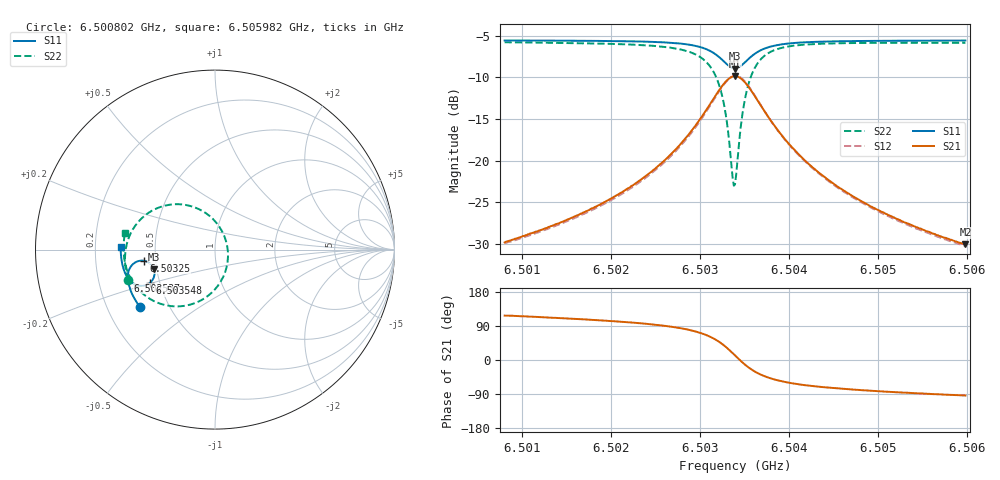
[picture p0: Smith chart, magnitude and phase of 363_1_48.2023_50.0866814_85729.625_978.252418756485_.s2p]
#  HZ  S  RI  R  50.00
! Rohde & Schwarz Vector Network Analyzer
! Rohde-Schwarz,ZNB20-2Port,1311601062101988,3.16
! Created: UTC 3/20/2024, 11:52:16 AM
! freq[Hz]  re:S11  im:S11  re:S21  im:S21  re:S12  im:S12  re:S22  im:S22
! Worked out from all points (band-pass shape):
!   401 points, 6.500802 GHz to 6.505982 GHz, reference 50 ohm
!   highest |S21| = -9.86 dB at 6.503392 GHz (marker M1); lowest = -30.0 dB at 6.505982 GHz (marker M2)
!   |S21| within 3 dB of the highest: 6.503133 GHz to 6.503651 GHz (518.5 kHz wide, 0.00797 % of centre)
!   lowest |S11| = -8.9 dB at 6.503392 GHz (marker M3), VSWR 2.11, Z = 24.1 - j6.1 ohm
!   |S11| at or under -10 dB: nowhere
!   |S22| runs from -23.0 to -5.8 dB; largest |S21 - S12| = 0.011
!   S11 on the Smith chart (normalised r, x): 6.500802 GHz: 0.34, -0.30; 6.502537 GHz: 0.33, -0.15; 6.50325 GHz: 0.43, -0.06; 6.503548 GHz: 0.44, -0.20; 6.505982 GHz: 0.31, +0.01
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6.5008021e9  -0.4194 -0.3183  -0.0148 0.0288  -0.0134 0.0291  -0.4854 -0.1675
6.5016698e9  -0.4577 -0.2553  -0.0145 0.0461  -0.0121 0.0458  -0.501 -0.0777
6.502136e9  -0.4749 -0.2148  -0.0121 0.0644  -0.00907 0.0635  -0.4997 -0.0137
6.5025374e9  -0.4849 -0.1719  -0.00319 0.0939  0.00033 0.0916  -0.4815 0.0634
6.5027964e9  -0.4847 -0.1351  0.0151 0.1279  0.0189 0.1241  -0.4425 0.1356
6.5029777e9  -0.4736 -0.1019  0.0493 0.1637  0.0525 0.1583  -0.3756 0.2012
6.5031461e9  -0.4396 -0.0689  0.1256 0.1967  0.1269 0.1904  -0.2354 0.252
6.5031979e9  -0.4207 -0.0626  0.1641 0.1983  0.1646 0.1923  -0.1676 0.2496
6.5032497e9  -0.3976 -0.0618  0.2096 0.1883  0.2099 0.183  -0.0893 0.2252
6.5033015e9  -0.3724 -0.0703  0.2573 0.161  0.258 0.1564  -0.0103 0.1693
6.5033662e9  -0.3463 -0.096  0.3044 0.0986  0.3067 0.0938  0.0607 0.0496
6.5033921e9  -0.3398 -0.1102  0.3144 0.0672  0.3175 0.0615  0.0717 -0.00894
6.5034051e9  -0.338 -0.1177  0.3172 0.0507  0.3203 0.0445  0.0724 -0.0391
6.5034828e9  -0.3438 -0.1617  0.3008 -0.042  0.3027 -0.0517  0.0164 -0.2012
6.5035475e9  -0.3645 -0.1871  0.2592 -0.0951  0.2579 -0.106  -0.0775 -0.2824
6.5036511e9  -0.4031 -0.2018  0.1863 -0.131  0.1811 -0.1401  -0.2241 -0.3163
6.5038195e9  -0.4484 -0.1921  0.1064 -0.1284  0.0996 -0.1331  -0.368 -0.2711
6.5040008e9  -0.4755 -0.1708  0.0628 -0.109  0.0569 -0.1111  -0.4388 -0.2074
6.5042598e9  -0.4961 -0.1407  0.0335 -0.0853  0.0288 -0.086  -0.4815 -0.1364
6.5046871e9  -0.5127 -0.0972  0.0136 -0.0612  0.0105 -0.0608  -0.5047 -0.0562
6.5051274e9  -0.5211 -0.057  0.00486 -0.0467  0.00272 -0.0461  -0.5096 0.00345
6.5059821e9  -0.5257 0.0147  -0.00199 -0.0314  -0.00341 -0.0306  -0.5014 0.092
